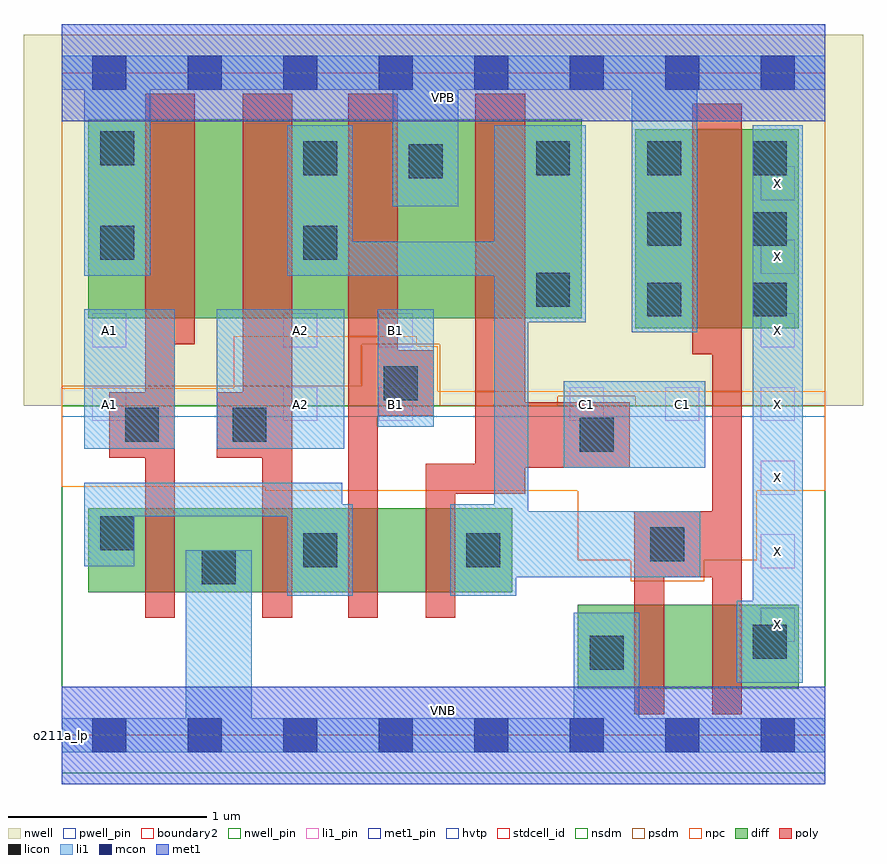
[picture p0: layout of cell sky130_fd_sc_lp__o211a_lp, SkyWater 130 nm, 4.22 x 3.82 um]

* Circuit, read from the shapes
.subckt sky130_fd_sc_lp__o211a_lp A1 A2 B1 C1 VGND VNB VPB VPWR X
XM1 VGND A1 n1 VNB sky130_fd_pr__nfet_01v8 w=0.42 l=0.15
XM2 n1 A2 VGND VNB sky130_fd_pr__nfet_01v8 w=0.42 l=0.15
XM3 n2 B1 n1 VNB sky130_fd_pr__nfet_01v8 w=0.42 l=0.15
XM4 n3 C1 n2 VNB sky130_fd_pr__nfet_01v8 w=0.42 l=0.15
XM5 n4 n3 VGND VNB sky130_fd_pr__nfet_01v8 w=0.42 l=0.15
XM6 X n3 n4 VNB sky130_fd_pr__nfet_01v8 w=0.42 l=0.15
XM7 n5 A1 VPWR VPB sky130_fd_pr__pfet_01v8_hvt w=1 l=0.25
XM8 n3 A2 n5 VPB sky130_fd_pr__pfet_01v8_hvt w=1 l=0.25
XM9 VPWR B1 n3 VPB sky130_fd_pr__pfet_01v8_hvt w=1 l=0.25
XM10 n3 C1 VPWR VPB sky130_fd_pr__pfet_01v8_hvt w=1 l=0.25
XM11 X n3 VPWR VPB sky130_fd_pr__pfet_01v8_hvt w=1 l=0.25
.ends

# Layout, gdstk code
import gdstk
lib = gdstk.Library(unit=1e-6, precision=1e-09)
def R(c, l, rs):  # rectangles x0, y0, x1, y1
    for r in rs: c.add(gdstk.rectangle(r[:2], r[2:], *l))
def A(c, l, x, y, w, h, nx, ny, dx, dy):  # array of equal rectangles
    R(c, l, [(x+i*dx, y+j*dy, x+i*dx+w, y+j*dy+h) for i in range(nx) for j in range(ny)])
def P(c, l, *ps):  # polygons
    for p in ps: c.add(gdstk.Polygon(p, *l))
nwell_pin = (64, 16)
nwell = (64, 20)
diff = (65, 20)
poly = (66, 20)
licon = (66, 44)
li1_pin = (67, 16)
li1 = (67, 20)
mcon = (67, 44)
met1_pin = (68, 16)
met1 = (68, 20)
hvtp = (78, 44)
stdcell_id = (81, 4)
nsdm = (93, 44)
psdm = (94, 20)
npc = (95, 20)
pwell_pin = (122, 16)
boundary2 = (236, 0)

sky130_fd_sc_lp__o211a_l = lib.new_cell('sky130_fd_sc_lp__o211a_lp')
R(sky130_fd_sc_lp__o211a_l, nwell_pin, [(0,3.085,3.84,3.33)])
R(sky130_fd_sc_lp__o211a_l, nwell, [(-0.19,1.655,4.03,3.52)])
R(sky130_fd_sc_lp__o211a_l, diff, [(2.595,0.235,3.705,0.655), (0.135,0.72,2.265,1.14), (2.885,2.045,3.705,3.045), (0.135,2.095,2.615,3.095)])
P(sky130_fd_sc_lp__o211a_l, poly, [(0.67,3.225),(0.42,3.225),(0.42,1.725),(0.24,1.725),(0.24,1.395),(0.42,1.395),(0.42,0.59),(0.57,0.59),(0.57,1.965),(0.67,1.965)],
  [(1.16,3.225),(0.91,3.225),(0.91,1.725),(0.78,1.725),(0.78,1.395),(1.01,1.395),(1.01,0.59),(1.16,0.59)],
  [(1.87,1.935),(1.69,1.935),(1.69,3.225),(1.44,3.225),(1.44,0.59),(1.59,0.59),(1.59,1.605),(1.87,1.605)],
  [(2.855,1.675),(2.33,1.675),(2.33,3.225),(2.08,3.225),(2.08,1.365),(1.83,1.365),(1.83,0.59),(1.98,0.59),(1.98,1.215),(2.33,1.215),(2.33,1.345),(2.855,1.345)],
  [(3.42,3.175),(3.17,3.175),(3.17,1.915),(3.27,1.915),(3.27,1.125),(2.88,1.125),(2.88,0.105),(3.03,0.105),(3.03,0.795),(3.27,0.795),(3.27,0.105),(3.42,0.105)])
A(sky130_fd_sc_lp__o211a_l, licon, 2.945, 2.105, 0.17, 0.17, 1, 3, 0, 0.355)
A(sky130_fd_sc_lp__o211a_l, licon, 3.475, 2.105, 0.17, 0.17, 1, 3, 0, 0.355)
R(sky130_fd_sc_lp__o211a_l, licon, [(2.655,0.33,2.825,0.5), (3.475,0.385,3.645,0.555), (0.705,0.76,0.875,0.93), (1.215,0.845,1.385,1.015), (2.035,0.845,2.205,1.015), (2.96,0.875,3.13,1.045), (0.195,0.93,0.365,1.1), (2.605,1.425,2.775,1.595), (0.32,1.475,0.49,1.645), (0.86,1.475,1.03,1.645), (1.62,1.685,1.79,1.855), (2.385,2.155,2.555,2.325), (0.195,2.39,0.365,2.56), (1.215,2.39,1.385,2.56), (1.745,2.8,1.915,2.97), (1.215,2.815,1.385,2.985), (2.385,2.815,2.555,2.985), (0.195,2.865,0.365,3.035)])
A(sky130_fd_sc_lp__o211a_l, li1_pin, 3.515, 0.47, 0.17, 0.17, 1, 3, 0, 0.37)
A(sky130_fd_sc_lp__o211a_l, li1_pin, 2.555, 1.58, 0.17, 0.17, 3, 1, 0.48, 0)
A(sky130_fd_sc_lp__o211a_l, li1_pin, 3.515, 1.95, 0.17, 0.17, 1, 3, 0, 0.37)
R(sky130_fd_sc_lp__o211a_l, li1_pin, [(0.155,1.58,0.325,1.75), (1.115,1.58,1.285,1.75), (1.595,1.58,1.765,1.75), (0.155,1.95,0.325,2.12), (1.115,1.95,1.285,2.12), (1.595,1.95,1.765,2.12)])
R(sky130_fd_sc_lp__o211a_l, li1, [(2.525,1.345,3.235,1.78), (0.115,1.44,0.57,2.14), (0.78,1.44,1.42,2.14), (1.59,1.55,1.87,2.14)])
P(sky130_fd_sc_lp__o211a_l, li1, [(2.865,2.025),(2.865,3.245),(1.995,3.245),(1.995,2.66),(1.665,2.66),(1.665,3.245),(0.445,3.245),(0.445,2.31),(0.115,2.31),(0.115,3.245),(0,3.245),(0,3.415),(3.84,3.415),(3.84,3.245),(3.195,3.245),(3.195,2.025)],
  [(2.575,0.085),(2.575,0.615),(2.905,0.615),(2.905,0.085),(3.84,0.085),(3.84,-0.085),(0,-0.085),(0,0.085),(0.625,0.085),(0.625,0.93),(0.955,0.93),(0.955,0.085)],
  [(2.345,1.125),(3.21,1.125),(3.21,0.795),(2.285,0.795),(2.285,0.7),(1.955,0.7),(1.955,1.16),(2.175,1.16),(2.175,2.31),(1.135,2.31),(1.135,3.065),(1.465,3.065),(1.465,2.48),(2.175,2.48),(2.175,3.065),(2.635,3.065),(2.635,2.075),(2.345,2.075)],
  [(1.135,1.1),(0.365,1.1),(0.365,0.85),(0.115,0.85),(0.115,1.27),(1.41,1.27),(1.41,1.16),(1.465,1.16),(1.465,0.7),(1.135,0.7)],
  [(3.475,0.675),(3.475,3.065),(3.725,3.065),(3.725,0.265),(3.395,0.265),(3.395,0.675)])
A(sky130_fd_sc_lp__o211a_l, mcon, 0.155, -0.085, 0.17, 0.17, 8, 2, 0.48, 3.33)
R(sky130_fd_sc_lp__o211a_l, met1_pin, [(0,0,3.84,0.245), (0,3.085,3.84,3.33)])
R(sky130_fd_sc_lp__o211a_l, met1, [(0,-0.245,3.84,0.245), (0,3.085,3.84,3.575)])
R(sky130_fd_sc_lp__o211a_l, hvtp, [(0,1.6,3.84,3.33)])
R(sky130_fd_sc_lp__o211a_l, stdcell_id, [(0,0,3.84,3.33)])
R(sky130_fd_sc_lp__o211a_l, nsdm, [(0,-0.19,3.84,1.655)])
P(sky130_fd_sc_lp__o211a_l, psdm, [(3.84,3.52),(0,3.52),(0,1.755),(1.51,1.755),(1.51,1.965),(1.9,1.965),(1.9,1.655),(2.495,1.655),(2.495,1.705),(2.885,1.705),(2.885,1.655),(3.84,1.655)])
P(sky130_fd_sc_lp__o211a_l, npc, [(3.84,1.73),(1.89,1.73),(1.89,1.955),(1.785,1.955),(1.785,2.005),(0.865,2.005),(0.865,1.745),(0,1.745),(0,1.25),(1.025,1.25),(1.025,1.23),(2.595,1.23),(2.595,0.88),(2.86,0.88),(2.86,0.775),(3.23,0.775),(3.23,0.88),(3.495,0.88),(3.495,1.23),(3.84,1.23)])
R(sky130_fd_sc_lp__o211a_l, pwell_pin, [(0,0,3.84,0.245)])
R(sky130_fd_sc_lp__o211a_l, boundary2, [(0,0,3.84,3.33)])
sky130_fd_sc_lp__o211a_l.add(gdstk.Label('VNB', (1.92,0.123), layer=64, texttype=59))
sky130_fd_sc_lp__o211a_l.add(gdstk.Label('VPB', (1.92,3.208), layer=64, texttype=5))
sky130_fd_sc_lp__o211a_l.add(gdstk.Label('o211a_lp', (0,0), layer=83, texttype=44))
sky130_fd_sc_lp__o211a_l.add(gdstk.Label('VPWR', (1.92,3.208), layer=68, texttype=5))
sky130_fd_sc_lp__o211a_l.add(gdstk.Label('VGND', (1.92,0.123), layer=68, texttype=5))
sky130_fd_sc_lp__o211a_l.add(gdstk.Label('C1', (2.64,1.665), layer=67, texttype=5))
sky130_fd_sc_lp__o211a_l.add(gdstk.Label('C1', (3.12,1.665), layer=67, texttype=5))
sky130_fd_sc_lp__o211a_l.add(gdstk.Label('B1', (1.68,1.665), layer=67, texttype=5))
sky130_fd_sc_lp__o211a_l.add(gdstk.Label('A2', (1.2,1.665), layer=67, texttype=5))
sky130_fd_sc_lp__o211a_l.add(gdstk.Label('A1', (0.24,1.665), layer=67, texttype=5))
sky130_fd_sc_lp__o211a_l.add(gdstk.Label('X', (3.6,0.555), layer=67, texttype=5))
sky130_fd_sc_lp__o211a_l.add(gdstk.Label('X', (3.6,0.925), layer=67, texttype=5))
sky130_fd_sc_lp__o211a_l.add(gdstk.Label('X', (3.6,1.295), layer=67, texttype=5))
sky130_fd_sc_lp__o211a_l.add(gdstk.Label('X', (3.6,1.665), layer=67, texttype=5))
sky130_fd_sc_lp__o211a_l.add(gdstk.Label('X', (3.6,2.035), layer=67, texttype=5))
sky130_fd_sc_lp__o211a_l.add(gdstk.Label('X', (3.6,2.405), layer=67, texttype=5))
sky130_fd_sc_lp__o211a_l.add(gdstk.Label('X', (3.6,2.775), layer=67, texttype=5))
sky130_fd_sc_lp__o211a_l.add(gdstk.Label('B1', (1.68,2.035), layer=67, texttype=5))
sky130_fd_sc_lp__o211a_l.add(gdstk.Label('A2', (1.2,2.035), layer=67, texttype=5))
sky130_fd_sc_lp__o211a_l.add(gdstk.Label('A1', (0.24,2.035), layer=67, texttype=5))

lib.write_gds('sky130_fd_sc_lp__o211a_lp.gds')
